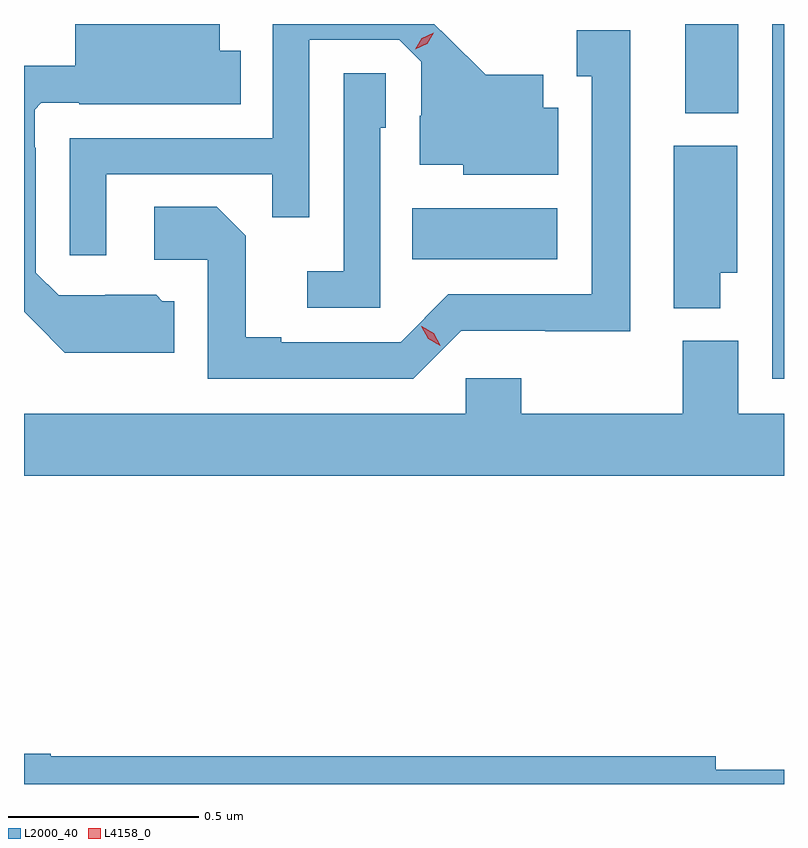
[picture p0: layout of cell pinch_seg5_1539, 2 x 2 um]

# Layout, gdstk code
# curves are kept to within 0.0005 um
import gdstk
lib = gdstk.Library(unit=1e-6, precision=1e-09)
def R(c, l, rs):  # rectangles x0, y0, x1, y1
    for r in rs: c.add(gdstk.rectangle(r[:2], r[2:], *l))
def P(c, l, *ps):  # polygons
    for p in ps: c.add(gdstk.Polygon(p, *l))
L2000_40 = (2000, 40)
L4158_0 = (4158, 0)

pinch_seg5_1539 = lib.new_cell('pinch_seg5_1539')
R(pinch_seg5_1539, L2000_40, [(133.431,891.648,133.462,892.581), (132.484,891.962,132.865,892.096), (133.202,892.346,133.342,892.581)])
P(pinch_seg5_1539, L2000_40, [(131.679,892.185),(132.115,892.185),(132.115,892.072),(132.213,892.072),(132.213,892.539),(132.45,892.539),(132.507,892.482),(132.507,892.34),(132.503,892.34),(132.503,892.211),(132.618,892.211),(132.618,892.184),(132.868,892.184),(132.868,892.36),(132.829,892.36),(132.829,892.447),(132.677,892.447),(132.542,892.581),(132.117,892.581),(132.117,892.281),(131.583,892.281),(131.583,891.972),(131.679,891.972)],
  [(131.857,891.852),(131.826,891.852),(131.81,891.868),(131.676,891.868),(131.676,891.867),(131.553,891.867),(131.493,891.927),(131.493,892.256),(131.49,892.256),(131.49,892.356),(131.508,892.374),(131.608,892.374),(131.608,892.37),(132.032,892.37),(132.032,892.51),(131.977,892.51),(131.977,892.581),(131.597,892.581),(131.597,892.471),(131.462,892.471),(131.462,891.824),(131.569,891.716),(131.857,891.716)],
  [(132.612,891.774),(132.834,891.774),(132.834,891.773),(133.057,891.773),(133.057,892.564),(132.917,892.564),(132.917,892.443),(132.956,892.443),(132.956,891.87),(132.579,891.87),(132.453,891.744),(132.139,891.744),(132.139,891.757),(132.045,891.757),(132.045,892.024),(131.969,892.1),(131.805,892.1),(131.805,891.96),(131.946,891.96),(131.946,891.648),(132.486,891.648)],
  [(132.399,892.308),(132.414,892.308),(132.414,892.451),(132.303,892.451),(132.303,891.931),(132.207,891.931),(132.207,891.834),(132.399,891.834)],
  [(133.294,891.926),(133.339,891.926),(133.339,892.261),(133.172,892.261),(133.172,891.833),(133.294,891.833)],
  [(133.462,891.556),(133.342,891.556),(133.342,891.748),(133.195,891.748),(133.195,891.556),(132.771,891.556),(132.771,891.649),(132.624,891.649),(132.624,891.556),(131.462,891.556),(131.462,891.392),(133.462,891.392)],
  [(133.462,890.618),(133.282,890.618),(133.282,890.654),(131.532,890.654),(131.532,890.66),(131.462,890.66),(131.462,890.581),(133.462,890.581)])
P(pinch_seg5_1539, L4158_0, [(132.492,892.514),(132.492,892.514),(132.509,892.543),(132.54,892.558),(132.54,892.558),(132.54,892.558),(132.523,892.529),(132.492,892.514)],
  [(132.558,891.734),(132.526,891.753),(132.508,891.785),(132.508,891.786),(132.509,891.786),(132.54,891.767),(132.558,891.735),(132.558,891.734)])

lib.write_gds('pinch_seg5_1539.gds')
